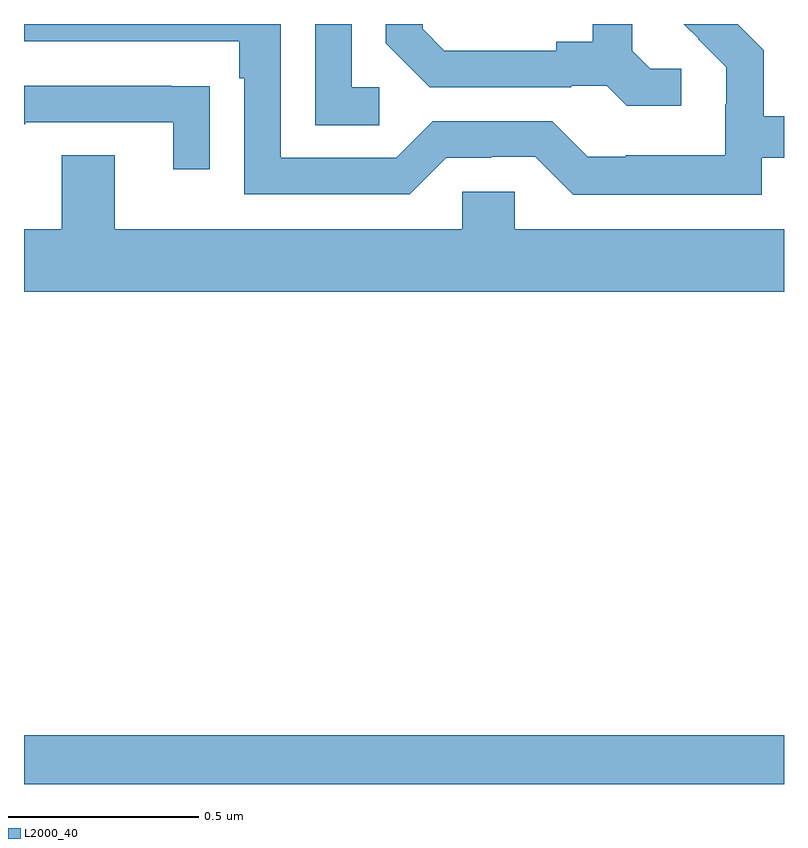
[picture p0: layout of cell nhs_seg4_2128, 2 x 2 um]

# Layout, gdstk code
import gdstk
lib = gdstk.Library(unit=1e-6, precision=1e-09)
def R(c, l, rs):  # rectangles x0, y0, x1, y1
    for r in rs: c.add(gdstk.rectangle(r[:2], r[2:], *l))
def P(c, l, *ps):  # polygons
    for p in ps: c.add(gdstk.Polygon(p, *l))
L2000_40 = (2000, 40)

nhs_seg4_2128 = lib.new_cell('nhs_seg4_2128')
R(nhs_seg4_2128, L2000_40, [(137,752.9,139,753.028)])
P(nhs_seg4_2128, L2000_40, [(138.73,754.782),(138.648,754.782),(138.601,754.829),(138.601,754.9),(138.497,754.9),(138.497,754.853),(138.401,754.853),(138.401,754.83),(138.106,754.83),(138.049,754.887),(138.049,754.9),(137.952,754.9),(137.952,754.85),(138.068,754.734),(138.44,754.734),(138.44,754.737),(138.534,754.737),(138.586,754.685),(138.73,754.685)],
  [(137.935,754.734),(137.862,754.734),(137.862,754.9),(137.766,754.9),(137.766,754.633),(137.935,754.633)],
  [(138.942,754.548),(139,754.548),(139,754.657),(138.947,754.657),(138.947,754.831),(138.878,754.9),(138.736,754.9),(138.775,754.861),(138.774,754.86),(138.848,754.786),(138.848,754.689),(138.846,754.689),(138.846,754.555),(138.583,754.555),(138.583,754.551),(138.483,754.551),(138.39,754.644),(138.075,754.644),(137.979,754.548),(137.676,754.548),(137.676,754.9),(137,754.9),(137,754.854),(137.567,754.854),(137.567,754.757),(137.58,754.757),(137.58,754.452),(138.015,754.452),(138.111,754.548),(138.23,754.548),(138.23,754.551),(138.345,754.551),(138.445,754.451),(138.942,754.451)],
  [(137.489,754.736),(137.387,754.736),(137.387,754.737),(137,754.737),(137,754.636),(137.003,754.636),(137.003,754.641),(137.393,754.641),(137.393,754.518),(137.489,754.518)],
  [(139,754.36),(138.291,754.36),(138.291,754.458),(138.153,754.458),(138.153,754.36),(137.239,754.36),(137.239,754.555),(137.099,754.555),(137.099,754.36),(137,754.36),(137,754.196),(139,754.196)])

lib.write_gds('nhs_seg4_2128.gds')
